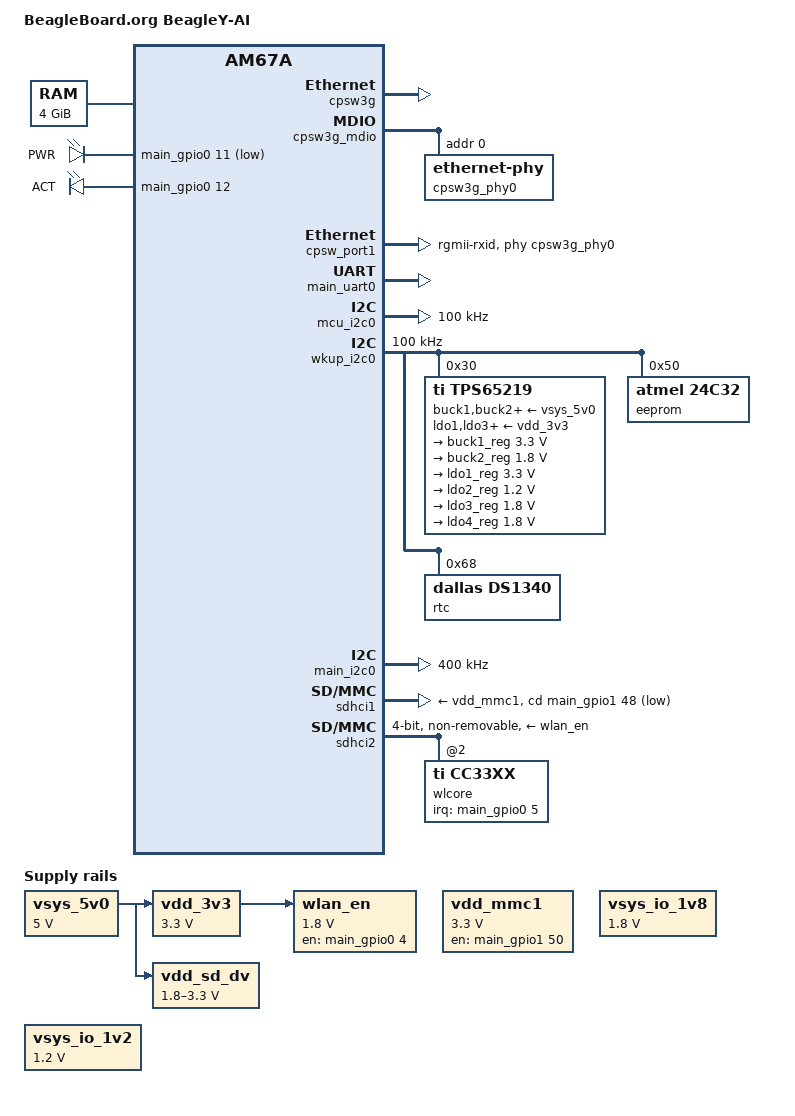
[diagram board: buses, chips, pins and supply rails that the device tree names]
// SPDX-License-Identifier: GPL-2.0-only OR MIT
/*
 * https://beagley-ai.org/
 *
 * Copyright (C) 2024 Texas Instruments Incorporated - https://www.ti.com/
 * Copyright (C) 2024 Robert Nelson, BeagleBoard.org Foundation
 */

/dts-v1/;

#include <dt-bindings/net/ti-dp83867.h>
#include "k3-j722s.dtsi"
#include <dt-bindings/leds/common.h>

/ {
	compatible = "beagle,am67a-beagley-ai", "ti,j722s";
	model = "BeagleBoard.org BeagleY-AI";

	aliases {
		serial0 = &wkup_uart0;
		serial2 = &main_uart0;
		serial3 = &main_uart1;
		serial6 = &main_uart6;
		mmc1 = &sdhci1;
		i2c1 = &mcu_i2c0;
	};

	chosen {
		stdout-path = &main_uart0;
		base_dtb = "k3-am67a-beagley-ai.dts";
		base_dtb_timestamp = __TIMESTAMP__;
	};

	memory@80000000 {
		/* 4G RAM */
		reg = <0x00000000 0x80000000 0x00000000 0x80000000>,
		      <0x00000008 0x80000000 0x00000000 0x80000000>;
		device_type = "memory";
		bootph-pre-ram;
	};

	reserved_memory: reserved-memory {
		#address-cells = <2>;
		#size-cells = <2>;
		ranges;

		secure_tfa_ddr: tfa@9e780000 {
			reg = <0x00 0x9e780000 0x00 0x80000>;
			no-map;
		};

		secure_ddr: optee@9e800000 {
			reg = <0x00 0x9e800000 0x00 0x01800000>;
			no-map;
		};

		wkup_r5fss0_core0_memory_region: r5f-memory@a0100000 {
			compatible = "shared-dma-pool";
			reg = <0x00 0xa0100000 0x00 0xf00000>;
			no-map;
		};

	};

	vsys_5v0: regulator-1 {
		compatible = "regulator-fixed";
		regulator-name = "vsys_5v0";
		regulator-min-microvolt = <5000000>;
		regulator-max-microvolt = <5000000>;
		regulator-always-on;
		regulator-boot-on;
		bootph-all;
	};

	vdd_3v3: regulator-2 {
		compatible = "regulator-fixed";
		regulator-name = "vdd_3v3";
		regulator-min-microvolt = <3300000>;
		regulator-max-microvolt = <3300000>;
		vin-supply = <&vsys_5v0>;
		regulator-always-on;
		regulator-boot-on;
	};

	wlan_en: regulator-3 {
		compatible = "regulator-fixed";
		regulator-name = "wlan_en";
		regulator-min-microvolt = <1800000>;
		regulator-max-microvolt = <1800000>;
		enable-active-high;
		/* regulator-always-on; */
		regulator-off-in-suspend;
		vin-supply = <&vdd_3v3>;
		gpio = <&main_gpio0 4 GPIO_ACTIVE_HIGH>;
		pinctrl-names = "default";
		pinctrl-0 = <&wifi_en_pins_default>;
	};

	vdd_mmc1: regulator-mmc1 {
		compatible = "regulator-fixed";
		regulator-name = "vdd_mmc1";
		pinctrl-names = "default";
		pinctrl-0 = <&vdd_3v3_sd_pins_default>;
		regulator-min-microvolt = <3300000>;
		regulator-max-microvolt = <3300000>;
		regulator-boot-on;
		enable-active-high;
		gpio = <&main_gpio1 50 GPIO_ACTIVE_HIGH>;
		bootph-all;
	};

	vdd_sd_dv: regulator-TLV71033 {
		compatible = "regulator-gpio";
		regulator-name = "tlv71033";
		pinctrl-names = "default";
		pinctrl-0 = <&vdd_sd_dv_pins_default>;
		regulator-min-microvolt = <1800000>;
		regulator-max-microvolt = <3300000>;
		regulator-boot-on;
		vin-supply = <&vsys_5v0>;
		gpios = <&main_gpio1 49 GPIO_ACTIVE_HIGH>;
		states = <1800000 0x0>,
			 <3300000 0x1>;
	};

	vsys_io_1v8: regulator-vsys-io-1v8 {
		compatible = "regulator-fixed";
		regulator-name = "vsys_io_1v8";
		regulator-min-microvolt = <1800000>;
		regulator-max-microvolt = <1800000>;
		regulator-always-on;
		regulator-boot-on;
	};

	vsys_io_1v2: regulator-vsys-io-1v2 {
		compatible = "regulator-fixed";
		regulator-name = "vsys_io_1v2";
		regulator-min-microvolt = <1200000>;
		regulator-max-microvolt = <1200000>;
		regulator-always-on;
		regulator-boot-on;
	};

	leds {
		compatible = "gpio-leds";
		pinctrl-names = "default";
		pinctrl-0 = <&led_pins_default>;

		led-0 {
			// red PWR
			label = "PWR";
			gpios = <&main_gpio0 11 GPIO_ACTIVE_LOW>;
			linux,default-trigger = "default-off";
			default-state = "off";
		};

		led-1 {
			// Green ACT
			label = "ACT";
			gpios = <&main_gpio0 12 GPIO_ACTIVE_HIGH>;
			function = LED_FUNCTION_HEARTBEAT;
			linux,default-trigger = "heartbeat";
			default-state = "on";
		};
	};
};

&main_pmx0 {

	main_i2c0_pins_default: main-i2c0-default-pins {
		pinctrl-single,pins = <
			J722S_IOPAD(0x01e0, PIN_INPUT_PULLUP, 0) /* (D23) I2C0_SCL */
			J722S_IOPAD(0x01e4, PIN_INPUT_PULLUP, 0) /* (B22) I2C0_SDA */
		>;
		bootph-all;
	};

	main_uart0_pins_default: main-uart0-default-pins {
		pinctrl-single,pins = <
			J722S_IOPAD(0x01c8, PIN_INPUT, 0)	/* (A22) UART0_RXD */
			J722S_IOPAD(0x01cc, PIN_OUTPUT, 0)	/* (B22) UART0_TXD */
		>;
		bootph-all;
	};

	vdd_sd_dv_pins_default: vdd-sd-dv-default-pins {
		pinctrl-single,pins = <
			J722S_IOPAD(0x0244, PIN_OUTPUT, 7) /* (A24) MMC1_SDWP.GPIO1_49 */
		>;
		bootph-all;
	};

	main_mmc1_pins_default: main-mmc1-default-pins {
		pinctrl-single,pins = <
			J722S_IOPAD(0x023c, PIN_INPUT, 0) /* (H22) MMC1_CMD */
			J722S_IOPAD(0x0234, PIN_OUTPUT, 0) /* (H24) MMC1_CLK */
			J722S_IOPAD(0x0230, PIN_INPUT, 0) /* (H23) MMC1_DAT0 */
			J722S_IOPAD(0x022c, PIN_INPUT_PULLUP, 0) /* (H20) MMC1_DAT1 */
			J722S_IOPAD(0x0228, PIN_INPUT_PULLUP, 0) /* (J23) MMC1_DAT2 */
			J722S_IOPAD(0x0224, PIN_INPUT_PULLUP, 0) /* (H25) MMC1_DAT3 */
			J722S_IOPAD(0x0240, PIN_INPUT, 7) /* (B24) MMC1_SDCD.GPIO1_48 */
		>;
		bootph-all;
	};

	mdio_pins_default: mdio-default-pins {
		pinctrl-single,pins = <
			J722S_IOPAD(0x0160, PIN_OUTPUT, 0) /* (AC24) MDIO0_MDC */
			J722S_IOPAD(0x015c, PIN_INPUT, 0) /* (AD25) MDIO0_MDIO */
		>;
	};

	rgmii1_pins_default: rgmii1-default-pins {
		pinctrl-single,pins = <
			J722S_IOPAD(0x014c, PIN_INPUT, 0) /* (AC25) RGMII1_RD0 */
			J722S_IOPAD(0x0150, PIN_INPUT, 0) /* (AD27) RGMII1_RD1 */
			J722S_IOPAD(0x0154, PIN_INPUT, 0) /* (AE24) RGMII1_RD2 */
			J722S_IOPAD(0x0158, PIN_INPUT, 0) /* (AE26) RGMII1_RD3 */
			J722S_IOPAD(0x0148, PIN_INPUT, 0) /* (AE27) RGMII1_RXC */
			J722S_IOPAD(0x0144, PIN_INPUT, 0) /* (AD23) RGMII1_RX_CTL */
			J722S_IOPAD(0x0134, PIN_OUTPUT, 0) /* (AF27) RGMII1_TD0 */
			J722S_IOPAD(0x0138, PIN_OUTPUT, 0) /* (AE23) RGMII1_TD1 */
			J722S_IOPAD(0x013c, PIN_OUTPUT, 0) /* (AG25) RGMII1_TD2 */
			J722S_IOPAD(0x0140, PIN_OUTPUT, 0) /* (AF24) RGMII1_TD3 */
			J722S_IOPAD(0x0130, PIN_OUTPUT, 0) /* (AG26) RGMII1_TXC */
			J722S_IOPAD(0x012c, PIN_OUTPUT, 0) /* (AF25) RGMII1_TX_CTL */
		>;
	};

	led_pins_default: led-default-pins {
		pinctrl-single,pins = <
			J722S_IOPAD(0x002c, PIN_OUTPUT, 7) /* (K26) OSPI0_CSn0.GPIO0_11 */
			J722S_IOPAD(0x0030, PIN_OUTPUT, 7) /* (K23) OSPI0_CSn1.GPIO0_12 */
		>;
	};

	pmic_irq_pins_default: pmic-irq-default-pins {
		pinctrl-single,pins = <
			J722S_IOPAD(0x01f4, PIN_INPUT_PULLUP, 0) /* (B23) EXTINTn */
		>;
	};

	vdd_3v3_sd_pins_default: vdd-3v3-sd-default-pins {
		pinctrl-single,pins = <
			J722S_IOPAD(0x0254, PIN_OUTPUT, 7) /* (E25) USB0_DRVVBUS.GPIO1_50 */
		>;
	};

	wifi_pins_default: wifi-default-pins {
		pinctrl-single,pins = <
			J722S_IOPAD(0x0120, PIN_INPUT, 0) /* (F27) MMC2_CMD */
			J722S_IOPAD(0x0118, PIN_OUTPUT, 0) /* (H26) MMC2_CLK */
			J722S_IOPAD(0x011C, PIN_INPUT, 0) /* () MMC2_CLKLB */
			J722S_IOPAD(0x0114, PIN_INPUT, 0) /* (G26) MMC2_DAT0 */
			J722S_IOPAD(0x0110, PIN_INPUT_PULLUP, 0) /* (G27) MMC2_DAT1 */
			J722S_IOPAD(0x010c, PIN_INPUT_PULLUP, 0) /* (H27) MMC2_DAT2 */
			J722S_IOPAD(0x0108, PIN_INPUT_PULLUP, 0) /* (J27) MMC2_DAT3 */
		>;
	};

	wifi_en_pins_default: wifi-en-default-pins {
		pinctrl-single,pins = <
			J722S_IOPAD(0x0010, PIN_OUTPUT, 7) /* (L27) OSPI0_D1.GPIO0_4 */
		>;
	};

	wifi_wlirq_pins_default: wifi-wlirq-default-pins {
		pinctrl-single,pins = <
			J722S_IOPAD(0x0014, PIN_INPUT, 7) /* (L26) OSPI0_D2.GPIO0_5 */
		>;
	};
};

&cpsw3g {
	status = "okay";
	pinctrl-names = "default";
	pinctrl-0 = <&rgmii1_pins_default>, <&gbe_pmx_obsclk>;

	assigned-clocks = <&k3_clks 227 0>;
	assigned-clock-parents = <&k3_clks 227 6>;
};

&cpsw3g_mdio {
	status = "okay";
	pinctrl-names = "default";
	pinctrl-0 = <&mdio_pins_default>;

	cpsw3g_phy0: ethernet-phy@0 {
		reg = <0>;
		ti,rx-internal-delay = <DP83867_RGMIIDCTL_2_00_NS>;
		ti,fifo-depth = <DP83867_PHYCR_FIFO_DEPTH_4_B_NIB>;
		ti,min-output-impedance;
	};
};

&cpsw_port1 {
	phy-mode = "rgmii-rxid";
	phy-handle = <&cpsw3g_phy0>;
	status = "okay";
};

&main_gpio1 {
	status = "okay";
};

&main_uart0 {
	pinctrl-names = "default";
	pinctrl-0 = <&main_uart0_pins_default>;
	status = "okay";
	bootph-all;
};

&mcu_pmx0 {

	wkup_uart0_pins_default: wkup-uart0-default-pins {
		pinctrl-single,pins = <
			J722S_MCU_IOPAD(0x02c, PIN_INPUT, 0)	/* (C7) WKUP_UART0_CTSn */
			J722S_MCU_IOPAD(0x030, PIN_OUTPUT, 0)	/* (C6) WKUP_UART0_RTSn */
			J722S_MCU_IOPAD(0x024, PIN_INPUT, 0)	/* (D8) WKUP_UART0_RXD */
			J722S_MCU_IOPAD(0x028, PIN_OUTPUT, 0)	/* (D7) WKUP_UART0_TXD */
		>;
		bootph-all;
	};

	wkup_i2c0_pins_default: wkup-i2c0-default-pins {
		pinctrl-single,pins = <
			J722S_MCU_IOPAD(0x04c, PIN_INPUT_PULLUP, 0)	/* (C7) WKUP_I2C0_SCL */
			J722S_MCU_IOPAD(0x050, PIN_INPUT_PULLUP, 0)	/* (C6) WKUP_I2C1_SDA */
		>;
		bootph-all;
	};

	wifi_32k_clk: mcu-clk-out-default-pins {
		pinctrl-single,pins = <
			J722S_MCU_IOPAD(0x0084, PIN_OUTPUT, 0) /* (F12) WKUP_CLKOUT0 */
		>;
	};

	mcu_i2c0_pins_default: mcu-i2c0-default-pins {
		pinctrl-single,pins = <
			J722S_MCU_IOPAD(0x0044, PIN_INPUT_PULLUP, 0) /* (B13) MCU_I2C0_SCL */
			J722S_MCU_IOPAD(0x0048, PIN_INPUT_PULLUP, 0) /* (E11) MCU_I2C0_SDA */
		>;
		bootph-all;
	};

	gbe_pmx_obsclk: gbe-pmx-obsclk-default-pins {
		pinctrl-single,pins = <
			J722S_MCU_IOPAD(0x0004, PIN_OUTPUT, 1) /* (A10) MCU_SPI0_CS1.MCU_OBSCLK0 */
		>;
	};
};

&wkup_uart0 {
	/* WKUP UART0 is used by Device Manager firmware */
	pinctrl-names = "default";
	pinctrl-0 = <&wkup_uart0_pins_default>;
	status = "reserved";
	bootph-all;
};

&mcu_i2c0 {
	symlink = "hat/mcu_i2c0";
	status = "okay";
	pinctrl-names = "default";
	pinctrl-0 = <&mcu_i2c0_pins_default>;
	clock-frequency = <100000>;
	bootph-all;
};

&wkup_i2c0 {
	pinctrl-names = "default";
	pinctrl-0 = <&wkup_i2c0_pins_default>;
	symlink = "hat/wkup_i2c0";
	clock-frequency = <100000>;
	status = "okay";
	bootph-all;

	tps65219: pmic@30 {
		bootph-all;
		compatible = "ti,tps65219";
		reg = <0x30>;
		buck1-supply = <&vsys_5v0>;
		buck2-supply = <&vsys_5v0>;
		buck3-supply = <&vsys_5v0>;
		ldo1-supply = <&vdd_3v3>;
		ldo3-supply = <&vdd_3v3>;
		ldo4-supply = <&vdd_3v3>;

		pinctrl-names = "default";
		pinctrl-0 = <&pmic_irq_pins_default>;
		interrupt-parent = <&gic500>;
		interrupts = <GIC_SPI 224 IRQ_TYPE_LEVEL_HIGH>;
		interrupt-controller;
		#interrupt-cells = <1>;

		system-power-controller;
		ti,power-button;

		regulators {
			buck1_reg: buck1 {
				regulator-name = "VDD_3V3";
				regulator-min-microvolt = <3300000>;
				regulator-max-microvolt = <3300000>;
				regulator-boot-on;
				regulator-always-on;
			};

			buck2_reg: buck2 {
				regulator-name = "VDD_1V8";
				regulator-min-microvolt = <1800000>;
				regulator-max-microvolt = <1800000>;
				regulator-boot-on;
				regulator-always-on;
			};

			buck3_reg: buck3 {
				/* Regulator is left as is unused */
			};

			ldo1_reg: ldo1 {
				regulator-name = "VDDSHV5_SDIO";
				regulator-min-microvolt = <3300000>;
				regulator-max-microvolt = <3300000>;
				regulator-allow-bypass;
				regulator-boot-on;
				regulator-always-on;
			};

			ldo2_reg: ldo2 {
				regulator-name = "VDD_1V2";
				regulator-min-microvolt = <1200000>;
				regulator-max-microvolt = <1200000>;
				regulator-boot-on;
				regulator-always-on;
			};

			ldo3_reg: ldo3 {
				regulator-name = "VDDA_PHY_1V8";
				regulator-min-microvolt = <1800000>;
				regulator-max-microvolt = <1800000>;
				regulator-boot-on;
				regulator-always-on;
			};

			ldo4_reg: ldo4 {
				regulator-name = "VDDA_PLL_1V8";
				regulator-min-microvolt = <1800000>;
				regulator-max-microvolt = <1800000>;
				regulator-boot-on;
				regulator-always-on;
			};
		};
	};

	eeprom@50 {
		compatible = "atmel,24c32";
		reg = <0x50>;
	};

	rtc: rtc@68 {
		compatible = "dallas,ds1340";
		reg = <0x68>;
	};
};

dsi0_csi1_i2c: &main_i2c0 {
	symlink = "hat/dsi0_csi1_i2c";
	status = "okay";
	pinctrl-names = "default";
	pinctrl-0 = <&main_i2c0_pins_default>;
	clock-frequency = <400000>;
	bootph-all;
};

&sdhci1 {
	/* SD/MMC */
	vmmc-supply = <&vdd_mmc1>;
	vqmmc-supply = <&vdd_sd_dv>;
	pinctrl-names = "default";
	pinctrl-0 = <&main_mmc1_pins_default>;
	disable-wp;
	cd-gpios = <&main_gpio1 48 GPIO_ACTIVE_LOW>;
	cd-debounce-delay-ms = <100>;
	bootph-all;
	ti,fails-without-test-cd;
	status = "okay";
};

&sdhci2 {
	vmmc-supply = <&wlan_en>;
	pinctrl-names = "default";
	pinctrl-0 = <&wifi_pins_default>, <&wifi_32k_clk>;
	bus-width = <4>;
	non-removable;
	ti,fails-without-test-cd;
	cap-power-off-card;
	keep-power-in-suspend;
	ti,driver-strength-ohm = <50>;
	assigned-clocks = <&k3_clks 157 174>;
	assigned-clock-parents = <&k3_clks 157 175>;
	#address-cells = <1>;
	#size-cells = <0>;
	status = "okay";

	wlcore: wlcore@2 {
		compatible = "ti,cc33xx";
		reg = <2>;
		pinctrl-names = "default";
		pinctrl-0 = <&wifi_wlirq_pins_default>;
		interrupt-parent = <&main_gpio0>;
		interrupts = <5 IRQ_TYPE_EDGE_RISING>;
	};
};
